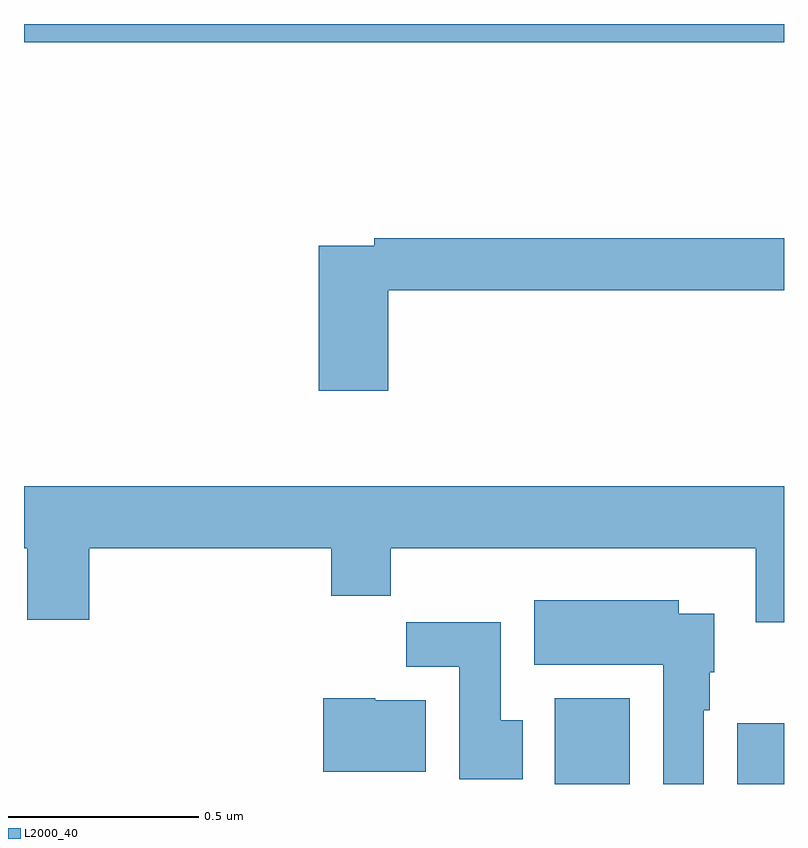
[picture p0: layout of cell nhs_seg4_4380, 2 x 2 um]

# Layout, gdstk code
import gdstk
lib = gdstk.Library(unit=1e-6, precision=1e-09)
def R(c, l, rs):  # rectangles x0, y0, x1, y1
    for r in rs: c.add(gdstk.rectangle(r[:2], r[2:], *l))
def P(c, l, *ps):  # polygons
    for p in ps: c.add(gdstk.Polygon(p, *l))
L2000_40 = (2000, 40)

nhs_seg4_4380 = lib.new_cell('nhs_seg4_4380')
R(nhs_seg4_4380, L2000_40, [(166.397,762.9,166.594,763.126), (166.877,762.9,167,763.06), (165,764.852,167,764.9)])
P(nhs_seg4_4380, L2000_40, [(165.959,764.2),(167,764.2),(167,764.336),(165.922,764.336),(165.922,764.316),(165.776,764.316),(165.776,763.935),(165.959,763.935)],
  [(167,763.684),(165,763.684),(165,763.52),(165.008,763.52),(165.008,763.332),(165.172,763.332),(165.172,763.52),(165.809,763.52),(165.809,763.396),(165.965,763.396),(165.965,763.52),(166.925,763.52),(166.925,763.326),(167,763.326)],
  [(166.789,763.094),(166.804,763.094),(166.804,763.194),(166.816,763.194),(166.816,763.348),(166.723,763.348),(166.723,763.384),(166.343,763.384),(166.343,763.214),(166.682,763.214),(166.682,762.9),(166.789,762.9)],
  [(166.312,763.068),(166.255,763.068),(166.255,763.326),(166.006,763.326),(166.006,763.208),(166.145,763.208),(166.145,762.912),(166.312,762.912)],
  [(166.057,763.12),(165.924,763.12),(165.924,763.126),(165.788,763.126),(165.788,762.932),(166.057,762.932)])

lib.write_gds('nhs_seg4_4380.gds')
